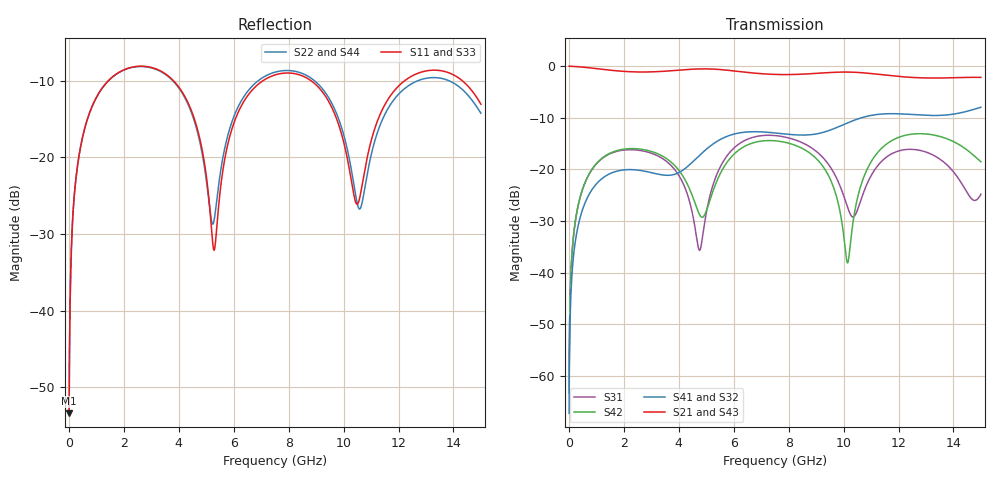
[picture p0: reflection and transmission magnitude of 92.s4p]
! Created with skrf 1.8.0 (http://scikit-rf.org).
# GHz S RI R 50.0
!freq ReS11 ImS11 ReS12 ImS12 ReS13 ImS13
! ReS14 ImS14
! ReS21 ImS21 ReS22 ImS22 ReS23 ImS23
! ReS24 ImS24
! ReS31 ImS31 ReS32 ImS32 ReS33 ImS33
! ReS34 ImS34
! ReS41 ImS41 ReS42 ImS42 ReS43 ImS43
! ReS44 ImS44
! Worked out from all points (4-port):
!   2499 points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, 5 MHz to 15 GHz, reference 50 ohm
!   strongest paths, dB at 5 MHz, 3.476 GHz, 7.19 GHz, 11.1 GHz, 15 GHz:
!     S21: 0.0, -1.0, -1.5, -1.5, -2.2
!     S43: 0.0, -1.0, -1.5, -1.5, -2.2
!     S41: -67.2, -21.1, -12.8, -9.5, -8.0
!     S32: -67.2, -21.2, -12.8, -9.5, -8.0
!     S42: -63.3, -17.7, -14.4, -17.7, -18.5
!     S31: -63.3, -18.2, -13.4, -20.4, -24.8
!   lowest |S11| = -53.4 dB at 5 MHz (marker M1), VSWR 1.00, Z = 50.2 + j0.13 ohm
!   |S11| at or under -10 dB: start of sweep to 1.43 GHz; 3.807 GHz to 7.06 GHz (3.253 GHz wide, 59.9 % of centre); 8.819 GHz to 12.22 GHz (3.402 GHz wide, 32.3 % of centre) (the widest 3 of 4)
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0.005  0.0017 0.00129  0.9983 -0.00332  8.59e-05 0.00068  -8.34e-05 -0.000426
       0.9983 -0.00332  0.0017 0.00129  -8.34e-05 -0.000426  8.6e-05 0.00068
       8.59e-05 0.00068  -8.34e-05 -0.000426  0.0017 0.00129  0.9983 -0.00332
       -8.34e-05 -0.000426  8.6e-05 0.00068  0.9983 -0.00332  0.0017 0.00129
0.3126303  0.0257 0.0849  0.9649 -0.2061  0.0117 0.0403  -0.0099 -0.0248
           0.9649 -0.2061  0.0256 0.0849  -0.00989 -0.0248  0.0121 0.0401
           0.0117 0.0403  -0.00989 -0.0248  0.0257 0.0849  0.9649 -0.2061
           -0.0099 -0.0248  0.0121 0.0401  0.9649 -0.2061  0.0256 0.0849
1.569404  0.2865 0.171  0.515 -0.7487  0.1308 0.0612  -0.0927 -0.000408
          0.515 -0.7487  0.2845 0.1725  -0.0926 -0.000563  0.1367 0.0525
          0.1308 0.0612  -0.0926 -0.000563  0.2867 0.1709  0.5149 -0.7487
          -0.0927 -0.000408  0.1367 0.0525  0.5149 -0.7487  0.2845 0.1726
5.114631  0.0266 -0.0416  -0.9263 -0.1497  0.0216 0.0484  -0.0223 0.1642
          -0.9263 -0.1497  0.0378 -0.03  -0.0247 0.1638  -0.0312 0.0373
          0.0216 0.0484  -0.0247 0.1638  0.0261 -0.0432  -0.9262 -0.1499
          -0.0223 0.1642  -0.0312 0.0373  -0.9262 -0.1499  0.039 -0.0315
8.153397  0.3521 -0.0315  -0.00818 0.8292  0.1659 -0.1048  0.2038 -0.0737
          -0.00818 0.8292  0.3638 -0.0457  0.2038 -0.0685  0.1625 -0.0628
          0.1659 -0.1048  0.2038 -0.0685  0.3526 -0.0328  -0.007 0.8293
          0.2038 -0.0737  0.1625 -0.0628  -0.007 0.8293  0.3624 -0.0458
10.90454  0.0715 0.0816  0.8503 -0.0503  0.0154 0.0757  -0.0419 -0.3262
          0.8503 -0.0503  0.0619 0.0589  -0.0319 -0.3273  0.0784 0.0717
          0.0154 0.0757  -0.0319 -0.3273  0.0694 0.0803  0.8503 -0.0523
          -0.0419 -0.3262  0.0784 0.0717  0.8503 -0.0523  0.0632 0.0555
15  0.1782 -0.133  -0.5595 -0.5399  -0.0563 0.0113  -0.2702 0.2939
    -0.5595 -0.5399  0.1797 -0.074  -0.2823 0.2829  -0.0992 -0.0647
    -0.0563 0.0113  -0.2823 0.2829  0.1754 -0.1284  -0.5658 -0.5345
    -0.2702 0.2939  -0.0992 -0.0647  -0.5658 -0.5345  0.1748 -0.074
